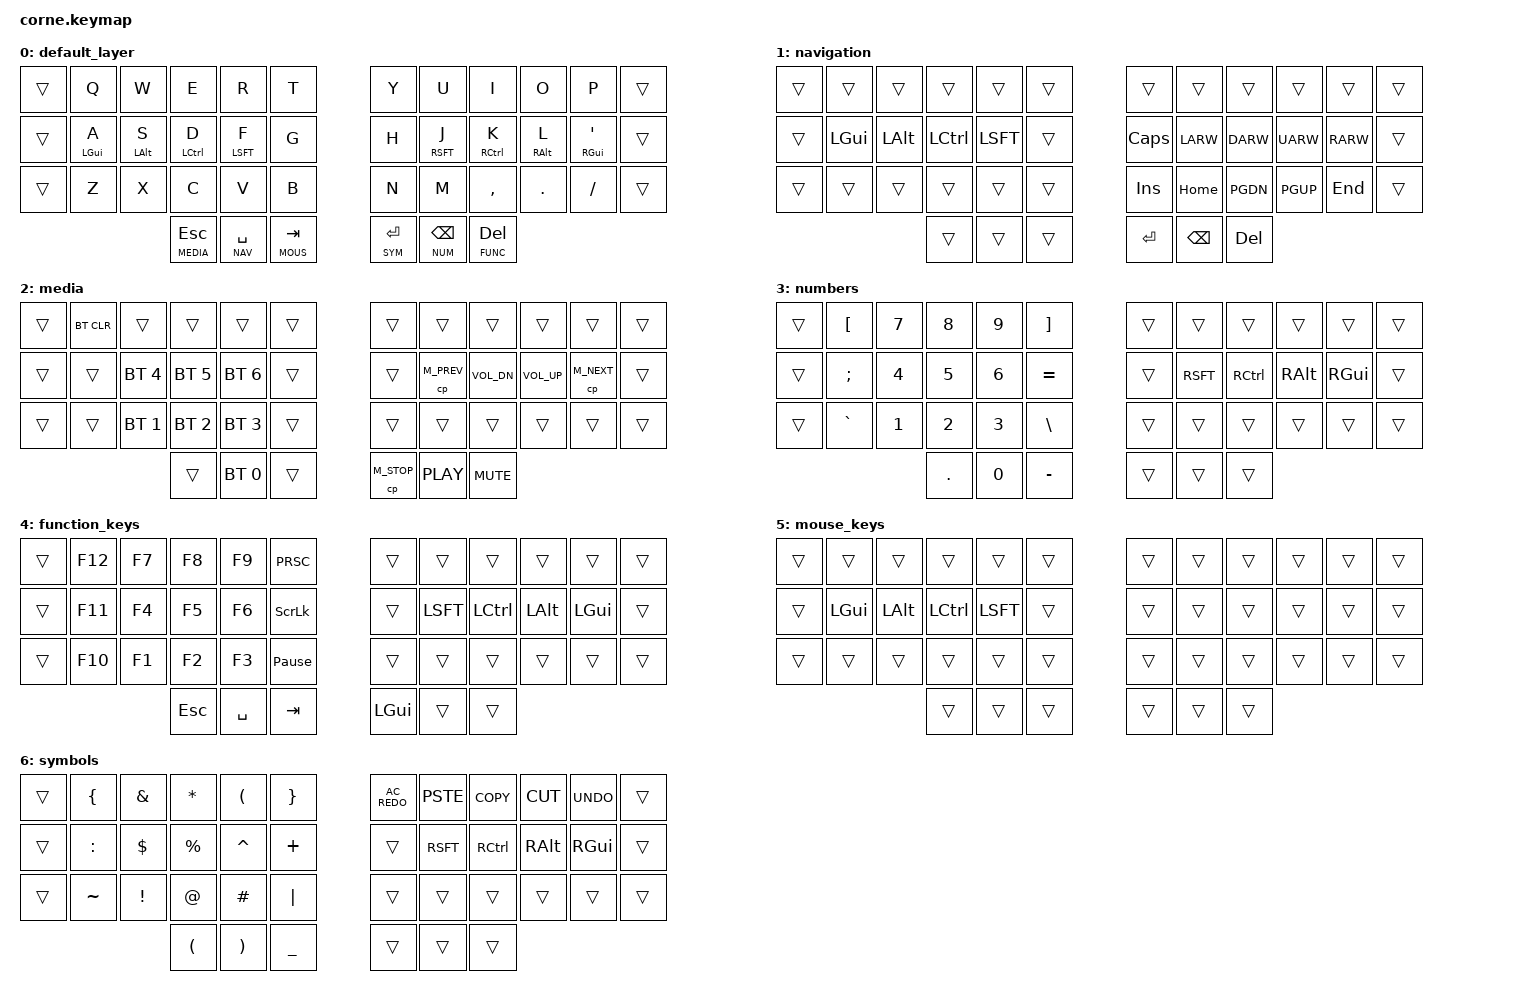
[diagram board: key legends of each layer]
/*
 * Corne/crkbd keymap using ZMK
 * Based off of miryoku
 * https://github.com/hhoozzii/corny
 *
 */

#include <behaviors.dtsi>
#include <dt-bindings/zmk/keys.h>
#include <dt-bindings/zmk/bt.h>

// Layer Definitions
#define DEFAULT 0
#define NAV     1
#define MEDIA   2
#define NUM     3
#define FUNC    4
#define MOUS    5
#define SYM     6


//  Homerow mod held behaviour
/ { 
    behaviors {
        hm: homerow_mods {
            compatible = "zmk,behavior-hold-tap";
            label = "HOMEROW_MODS";
            #binding-cells = <2>;
            tapping_term_ms = <200>;
            flavor = "balanced";
            bindings = <&kp>, <&kp>;
        };
    };


// HELD on each layer shows which key(s) are being held to access that layer
// #'s signify the split

    keymap {
        compatible = "zmk,keymap";
        
//layer 00
        default_layer {
// ---------------------------------------------------------------------------------------------------------
// ||     Q      |     W      |      E    |      R     |      T     | # |      Y     |      U     |      I     |     O      |     P      ||
// ||   A/LGUI   |   S/LALT   |   D/LCTL  |   F/LSFT   |      G     | # |      H     |    J/RSFT  |   K/RCTRL  |   L/RALT   |   '/RGUI   ||
// ||     Z      |     X      |      C    |      V     |      B     | # |      N     |      M     |      ,     |      .     |     /      ||
//                        |ltMEDIAESC|lt NAV SPC|ltMOUS TAB| # |lt SYM RET|ltNUM BKSP|ltFUNC DEL|

            bindings = <
&trans &kp Q         &kp W         &kp E         &kp R         &kp T              &kp Y         &kp U         &kp I         &kp O         &kp P         &trans
&trans &hm LGUI A    &hm LALT S    &hm LCTL D    &hm LSFT F    &kp G              &kp H         &hm RSFT J    &hm RCTL K    &hm RALT L    &hm RGUI APOS &trans
&trans &kp Z         &kp X         &kp C         &kp V         &kp B              &kp N         &kp M         &kp CMMA      &kp DOT       &kp FSLH      &trans
                                   &lt MEDIA ESC &lt NAV SPC   &lt MOUS TAB       &lt SYM RET   &lt NUM BKSP  &lt FUNC DEL
            >;
        };
        
//layer 01
        navigation {
// ---------------------------------------------------------------------------------------
// ||            |            |            |            |            | # |   Redo     |    Paste   |    COPY    |     Cut    |   Undo     ||
// ||    LGUI    |    LALT    |    LCTL    |    LSFT    |            | # |   caps     |    lft     |    DWN     |     Up     |   RGT      ||
// ||            |            |            |            |            | # |   insert   |   home     |    pgdn    |    pgup    |   end      ||
//                            |            |    HELD    |            | # |   enter    |    BKSP    |    DEL     |

            bindings = < 
&trans &trans        &trans        &trans        &trans        &trans             &trans         &trans         &trans        &trans        &trans        &trans    
&trans &kp LGUI      &kp LALT      &kp LCTL      &kp LSFT      &trans             &kp CAPS       &kp LARW       &kp DARW      &kp UARW      &kp RARW      &trans
&trans &trans        &trans        &trans        &trans        &trans             &kp INS        &kp HOME       &kp PGDN      &kp PGUP      &kp END       &trans
                                   &trans        &trans        &trans             &kp RET        &kp BKSP       &kp DEL
            >;  
        };

//layer 02
        media {
// -------------------------------------------------------------------------------------
// ||  BT_CLEAR  |            |            |            |            | # |            |            |            |            |            ||
// ||            |  BT_SEL 4  |  BT_SEL 5  |  BT_SEL 6  |            | # |            |    PREV    |    VOLD    |    VOLU    |    NEXT    ||
// ||            |  BT_SEL 1  |  BT_SEL 2  |  BT_SEL 3  |            | # |            |            |            |            |            ||
//                            |    HELD    |  BT_SEL 0  |            | # |    STOP    |    PLAY    |    MUTE    |

            bindings = <
&trans &bt BT_CLR    &trans        &trans        &trans        &trans             &trans        &trans        &trans        &trans        &trans        &trans       
&trans &trans        &bt BT_SEL 4  &bt BT_SEL 5  &bt BT_SEL 6  &trans             &trans        &cp M_PREV    &kp C_VOL_DN  &kp C_VOL_UP  &cp M_NEXT    &trans
&trans &trans        &bt BT_SEL 1  &bt BT_SEL 2  &bt BT_SEL 3  &trans             &trans        &trans        &trans        &trans        &trans          &trans
                                   &trans        &bt BT_SEL 0  &trans             &cp M_STOP    &kp C_PLAY    &kp C_MUTE
            >;
        };

//layer 03
        numbers {
// ---------------------------------------------------------------------------------
// ||    [       |      7     |     8      |     9      |     ]      | # |            |            |            |            |            ||
// ||      ;     |      4     |     5      |     6      |     =      | # |            |    RSFT    |    RCTRL   |    RALT    |     RGUI   ||
// ||      `     |      1     |     2      |     3      |     \      | # |            |            |            |            |            || 
//                            |     .      |     0      |     -      | # |            |     HELD   |            |

            bindings = <
&trans &kp LBKT      &kp NUM_7     &kp NUM_8     &kp NUM_9     &kp RBKT           &trans        &trans        &trans        &trans        &trans        &trans    
&trans &kp SEMI      &kp NUM_4     &kp NUM_5     &kp NUM_6     &kp EQL            &trans        &kp RSFT      &kp RCTL      &kp RALT      &kp RGUI      &trans
&trans &kp GRAVE     &kp NUM_1     &kp NUM_2     &kp NUM_3     &kp BSLH           &trans        &trans        &trans        &trans        &trans        &trans    
                                   &kp DOT       &kp NUM_0     &kp MINUS          &trans        &trans        &trans
            >;
        };

//layer 04
        function_keys {
// -------------------------------------------------------------------------------------
// ||    F12    |     F7     |     F8     |     F9     |   PTSRN    | # |            |            |            |            |            ||
// ||    F11    |     F4     |     F5     |     F6     |   SCRLL    | # |            |    RSFT    |    RCTRL   |    RLALT   |    RLGUI   ||
// ||    F10    |     F1     |     F2     |     F3     |   PAUSE    | # |            |            |            |            |            || 
//                           |     ESC    |     SPC    |    TAB     | # |            |            |    HELD    |
 
            bindings = <
&trans &kp F12       &kp F7        &kp F8        &kp F9        &kp PRSC           &trans        &trans        &trans        &trans        &trans        &trans        
&trans &kp F11       &kp F4        &kp F5        &kp F6        &kp SLCK           &trans        &kp LSFT      &kp LCTL      &kp LALT      &kp LGUI      &trans
&trans &kp F10       &kp F1        &kp F2        &kp F3        &kp PAUSE_BREAK    &trans        &trans        &trans        &trans        &trans        &trans        
                                   &kp ESC       &kp SPC       &kp TAB            &kp LGUI      &trans        &trans        
            >;
        };

//layer 05
        mouse_keys {
// -------------------------------------------------------------------------------------
// ||            |            |            |            |            | # |    REDO    |    PSTE    |    COPY    |     CUT    |    UNDO    ||
// ||    LGUI    |    LALT    |    LCTL    |    LSFT    |            | # |            |            |            |            |            ||
// ||            |            |            |            |            | # |            |            |            |            |            ||
//                            |            |            |   HELD     | # |            |            |            |

            bindings = <
&trans &trans        &trans        &trans        &trans        &trans             &trans        &trans        &trans        &trans        &trans        &trans   
&trans &kp LGUI      &kp LALT      &kp LCTL      &kp LSFT      &trans             &trans        &trans        &trans        &trans        &trans        &trans        
&trans &trans        &trans        &trans        &trans        &trans             &trans        &trans        &trans        &trans        &trans        &trans        
                                   &trans        &trans        &trans             &trans        &trans        &trans        
            >;
        };  
        
//layer 06        
        symbols {
// -------------------------------------------------------------------------------------
// ||     {      |     &      |      *     |      (     |      }     | # |            |            |            |            |            ||
// ||      :     |     $      |      %     |      ^     |      +     | # |            |    RSFT    |    RCTL    |    RALT    |    RGUI    ||
// ||      ~     |     !      |      @     |      #     |      |     | # |            |            |            |            |            ||
//                            |      (     |      )     |      _     | # |    HELD    |            |            |

            bindings = <
&trans &kp LBRC      &kp AMPS      &kp ASTRK     &kp LPAR      &kp RBRC           &kp C_AC_REDO &kp PSTE      &kp COPY      &kp CUT       &kp UNDO      &trans    
&trans &kp COLON     &kp DLLR      &kp PRCNT     &kp CARET     &kp PLUS           &trans        &kp RSFT      &kp RCTL      &kp RALT      &kp RGUI      &trans        
&trans &kp TILDE     &kp EXCL      &kp AT        &kp POUND     &kp PIPE           &trans        &trans        &trans        &trans        &trans        &trans    
                                   &kp LPAR      &kp RPAR      &kp UNDER          &trans        &trans        &trans
            >;
        };        
    };
};
